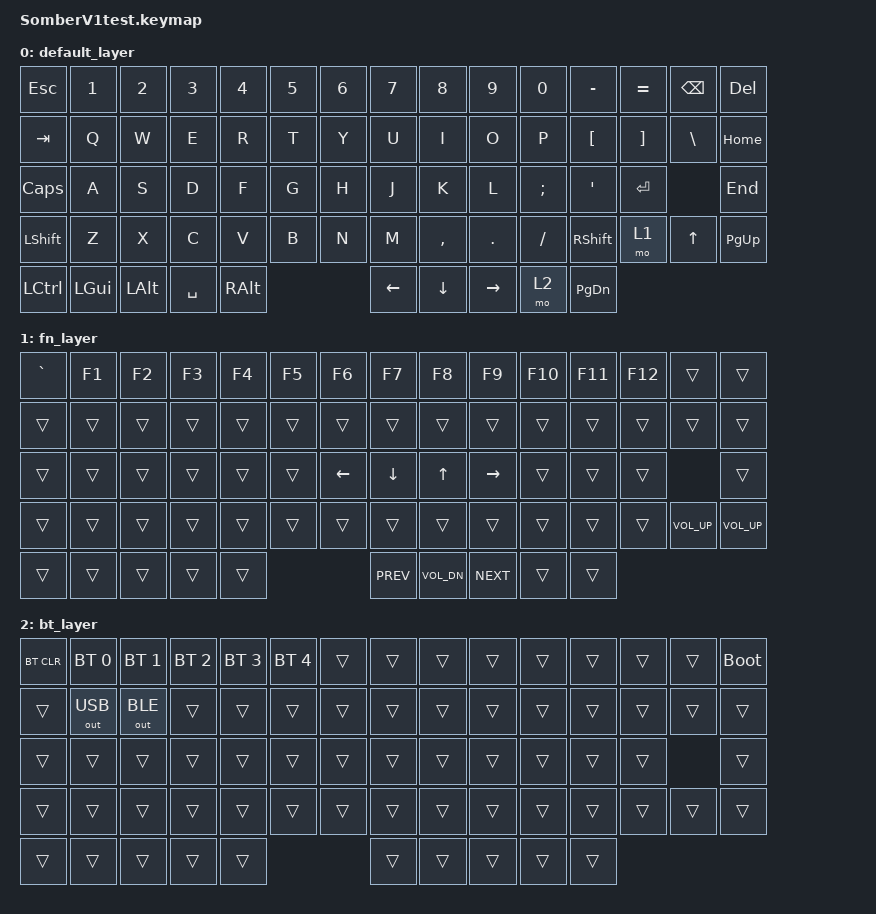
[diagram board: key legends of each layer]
#include <behaviors.dtsi>
#include <dt-bindings/zmk/keys.h>
#include <dt-bindings/zmk/bt.h>
#include <dt-bindings/zmk/output.h>

/ {
    keymap {
        compatible = "zmk,keymap";

        default_layer {

            bindings = <
/* Row 0 */
&kp ESC    &kp N1    &kp N2    &kp N3    &kp N4    &kp N5    &kp N6    &kp N7    &kp N8    &kp N9    &kp N0    &kp MINUS &kp EQUAL &kp BSPC &kp DEL

/* Row 1 */
&kp TAB    &kp Q     &kp W     &kp E     &kp R     &kp T     &kp Y     &kp U     &kp I     &kp O     &kp P     &kp LBKT  &kp RBKT  &kp BSLH  &kp HOME

/* Row 2 */
&kp CAPS   &kp A     &kp S     &kp D     &kp F     &kp G     &kp H     &kp J     &kp K     &kp L     &kp SEMI  &kp SQT   &kp ENTER          &kp END

/* Row 3 */
&kp LSHIFT &kp Z     &kp X     &kp C     &kp V     &kp B     &kp N     &kp M     &kp COMMA &kp DOT   &kp SLASH &kp RSHIFT &mo 1     &kp UP    &kp PG_UP

/* Row 4 */
&kp LCTRL  &kp LGUI  &kp LALT           &kp SPACE          &kp RALT  &kp LEFT  &kp DOWN  &kp RIGHT &mo 2     &kp PG_DN
            >;
        };

        fn_layer {
            bindings = <
/* Row 0 */
&kp GRAVE  &kp F1  &kp F2  &kp F3  &kp F4  &kp F5  &kp F6  &kp F7  &kp F8  &kp F9  &kp F10 &kp F11 &kp F12 &trans &trans

/* Row 1 */
&trans &trans &trans &trans &trans &trans &trans &trans &trans &trans &trans &trans &trans &trans &trans

/* Row 2 */
&trans &trans &trans &trans &trans &trans &kp LEFT &kp DOWN &kp UP &kp RIGHT &trans &trans &trans &trans

/* Row 3 */
&trans &trans &trans &trans &trans &trans &trans &trans &trans &trans &trans &trans &trans &kp VOL_UP &kp C_VOL_UP

/* Row 4 */
&trans &trans &trans         &trans         &trans &kp PREV &kp VOL_DN &kp NEXT &trans &trans
            >;
        };

        bt_layer {
            bindings = <
/* Row 0 */
&bt BT_CLR &bt BT_SEL 0 &bt BT_SEL 1 &bt BT_SEL 2 &bt BT_SEL 3 &bt BT_SEL 4 &trans &trans &trans &trans &trans &trans &trans &trans &bootloader

/* Row 1 */
&trans &out OUT_USB &out OUT_BLE &trans &trans &trans &trans &trans &trans &trans &trans &trans &trans &trans &trans

/* Row 2 */
&trans &trans &trans &trans &trans &trans &trans &trans &trans &trans &trans &trans &trans &trans

/* Row 3 */
&trans &trans &trans &trans &trans &trans &trans &trans &trans &trans &trans &trans &trans &trans &trans

/* Row 4 */
&trans &trans &trans        &trans        &trans &trans &trans &trans &trans &trans
            >;
        };
    };
};
